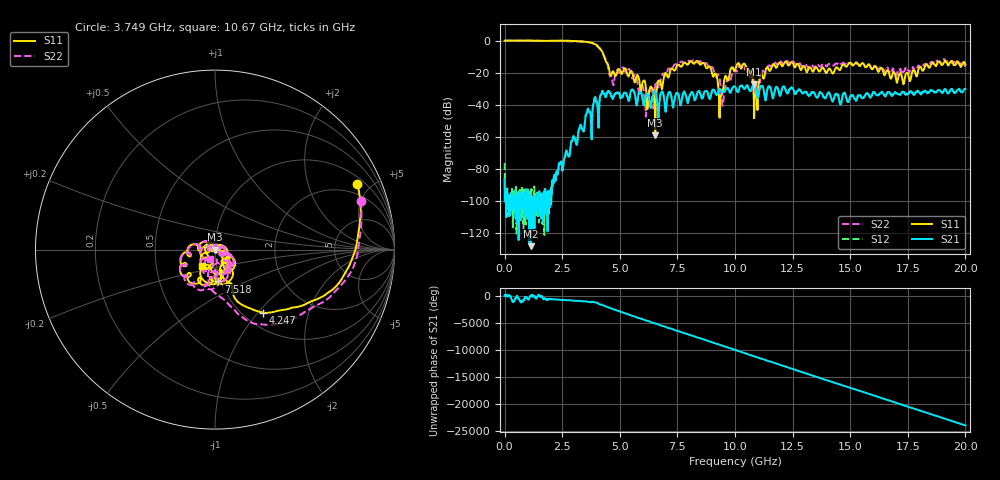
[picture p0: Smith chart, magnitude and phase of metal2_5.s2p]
#  HZ  S  RI  R  50.00
! Rohde & Schwarz Vector Network Analyzer
! Rohde-Schwarz,ZNB20-2Port,1311601062102128,3.60
! Created: UTC 4/29/2024, 3:56:16 PM
! freq[Hz]  re:S11  im:S11  re:S21  im:S21  re:S12  im:S12  re:S22  im:S22
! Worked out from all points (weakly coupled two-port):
!   2007 points, 100 kHz to 20 GHz, reference 50 ohm
!   highest |S21| = -27.32 dB at 10.82 GHz (marker M1); lowest = -128.0 dB at 1.137 GHz (marker M2)
!   lowest |S11| = -58.9 dB at 6.54 GHz (marker M3), VSWR 1.00, Z = 50.1 + j0.018 ohm
!   |S11| at or under -10 dB: 4.327 GHz to end of sweep
!   |S22| runs from -47.4 to 0.1 dB; largest |S21 - S12| = 0.0022
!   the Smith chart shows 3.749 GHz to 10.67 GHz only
!   S11 on the Smith chart (normalised r, x): 3.749 GHz: 1.36, +4.16; 4.247 GHz: 1.22, -1.06; 7.518 GHz: 0.97, -0.36; 10.67 GHz: 0.85, -0.16
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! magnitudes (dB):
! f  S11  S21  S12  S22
! 100 kHz  0.0  -86.3  -76.1  0.1
! 1.137 GHz  0.0  -128.0  -93.7  -0.1
! 2.253 GHz  0.0  -82.5  -81.6  -0.3
! 3.34 GHz  -0.6  -54.6  -54.4  -0.6
! 3.749 GHz  -1.2  -49.5  -49.7  -1.3
! 4.247 GHz  -7.1  -31.5  -31.2  -7.5
! 4.656 GHz  -20.2  -34.6  -34.7  -23.1
! 5.394 GHz  -21.9  -37.5  -37.5  -17.7
! 6.142 GHz  -30.4  -34.0  -34.0  -45.2
! 6.54 GHz  -58.9  -31.6  -31.6  -27.0
! 6.67 GHz  -25.1  -49.3  -49.6  -27.9
! 7.518 GHz  -15.0  -32.7  -32.9  -15.4
! 8.883 GHz  -16.1  -36.0  -35.9  -17.1
! 9.382 GHz  -34.7  -30.9  -31.0  -29.0
! 10 GHz  -18.8  -28.7  -28.7  -17.7
! 10.67 GHz  -18.5  -31.5  -31.4  -24.4
! 10.82 GHz  -37.2  -27.3  -27.4  -26.5
! 10.92 GHz  -32.6  -30.8  -30.8  -30.3
! 11.67 GHz  -14.6  -35.1  -35.4  -14.9
! 13.34 GHz  -18.7  -32.2  -32.1  -15.1
! 16.67 GHz  -19.3  -32.0  -32.0  -19.3
! 20 GHz  -15.1  -30.1  -30.2  -15.1
